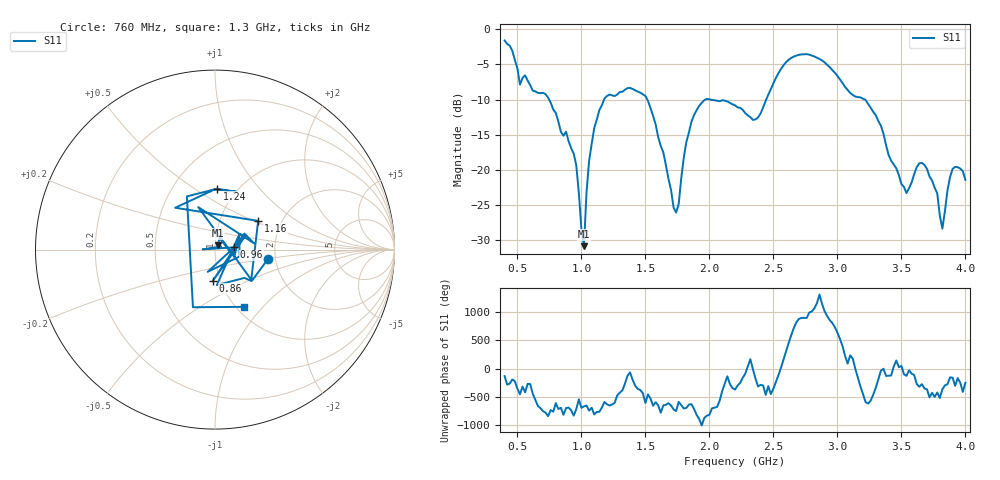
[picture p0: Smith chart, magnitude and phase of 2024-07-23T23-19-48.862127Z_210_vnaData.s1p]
!Created with skrf (http://scikit-rf.org).
# Hz S RI R 50.0
!freq ReS11 ImS11
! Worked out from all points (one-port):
!   181 points, 400 MHz to 4 GHz, reference 50 ohm
!   lowest |S11| = -30.8 dB at 1.02 GHz (marker M1), VSWR 1.06, Z = 51.6 + j2.43 ohm
!   |S11| at or under -10 dB: 1.515 GHz to 1.968 GHz (453.2 MHz wide, 26 % of centre); 2.009 GHz to 2.444 GHz (434.3 MHz wide, 19.5 % of centre); 3.216 GHz to end of sweep (the widest 3 of 4)
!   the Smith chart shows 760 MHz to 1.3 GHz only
!   S11 on the Smith chart (normalised r, x): 760 MHz: 1.83, -0.20; 860 MHz: 0.92, -0.33; 960 MHz: 1.24, +0.03; 1.16 GHz: 1.52, +0.53; 1.24 GHz: 0.81, +0.62; 1.3 GHz: 1.09, -0.79
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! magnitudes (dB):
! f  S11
! 400 MHz  -1.6
! 520 MHz  -7.9
! 760 MHz  -10.4
! 860 MHz  -15.1
! 960 MHz  -19.3
! 1.02 GHz  -30.8
! 1.06 GHz  -18.7
! 1.16 GHz  -10.8
! 1.24 GHz  -9.4
! 1.3 GHz  -8.9
! 1.5 GHz  -9.5
! 1.64 GHz  -17.5
! 1.72 GHz  -25.3
! 1.76 GHz  -24.9
! 1.82 GHz  -16.0
! 1.9 GHz  -11.5
! 2.2 GHz  -10.8
! 2.38 GHz  -12.5
! 2.66 GHz  -3.9
! 2.88 GHz  -4.4
! 3.1 GHz  -9.0
! 3.3 GHz  -12.2
! 3.56 GHz  -22.6
! 3.68 GHz  -19.3
! 3.78 GHz  -23.3
! 3.82 GHz  -28.3
! 3.9 GHz  -19.9
! 4 GHz  -21.4
